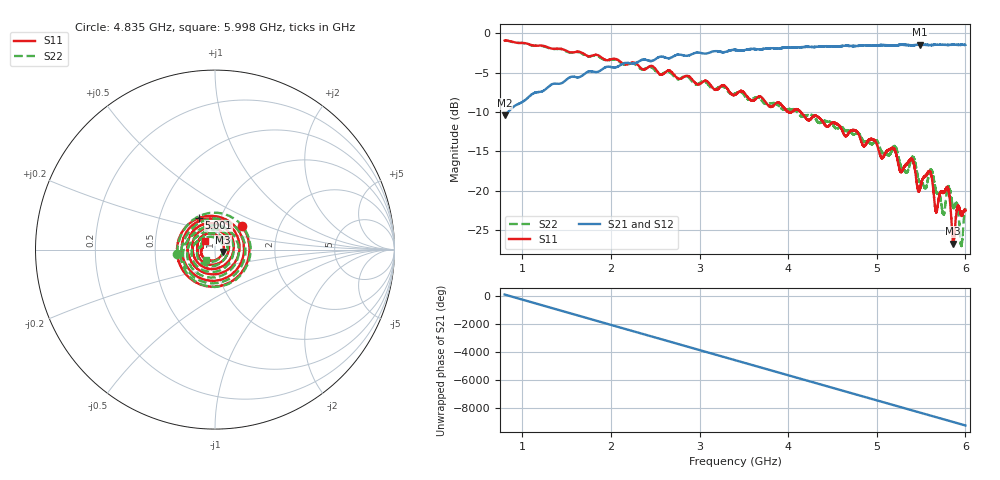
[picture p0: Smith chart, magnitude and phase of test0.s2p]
!Keysight Technologies N9923A: A.08.15
!Date: Friday, 16 February 2024 22:50:42
!Timezone: (GMT-05:00) Eastern Time (US & Canada)
!Model: N9923A
!Serial: MY52412730
!GPS Latitude:
!GPS Longitude:
!GPS TimeStamp: 0001-01-01 00:00:00Z
!GPS Seconds Since Last Read: 0
!CHECKSUM:0735242323
!Correction: S11(ON Q)S21(ON Q)S12(ON Q)S22(ON Q)
!S2P File: Measurements:S11,S21,S12,S22:
# Hz S DB R 50
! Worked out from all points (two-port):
!   10001 points, 800 MHz to 6 GHz, reference 50 ohm
!   highest |S21| = -1.42 dB at 5.49 GHz (marker M1); lowest = -10.4 dB at 800 MHz (marker M2)
!   |S21| within 3 dB of the highest: 1.917394 GHz to 1.918774 GHz (1.38 MHz wide, 0.072 % of centre); 1.919 GHz to end of sweep
!   lowest |S11| = -26.7 dB at 5.863 GHz (marker M3), VSWR 1.10, Z = 54.6 - j1.43 ohm
!   |S11| at or under -10 dB: 4.002 GHz to 4.039 GHz (37.26 MHz wide, 0.927 % of centre); 4.04003 GHz to 4.040165 GHz (135.1 kHz wide, 0.00334 % of centre); 4.142 GHz to end of sweep
!   |S22| runs from -27.0 to -0.9 dB; largest |S21 - S12| = 0.0084
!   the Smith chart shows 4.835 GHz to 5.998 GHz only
!   S11 on the Smith chart (normalised r, x): 4.835 GHz: 1.30, +0.35; 5.001 GHz: 0.79, +0.29; 5.998 GHz: 0.89, +0.09
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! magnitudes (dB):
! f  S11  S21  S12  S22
! 800 MHz  -0.9  -10.4  -10.4  -0.9
! 1.667 GHz  -2.4  -5.4  -5.4  -2.5
! 2.534 GHz  -5.0  -3.1  -3.1  -5.1
! 3.4 GHz  -7.8  -2.1  -2.1  -7.7
! 4.267 GHz  -10.8  -1.7  -1.8  -10.4
! 4.835 GHz  -14.1  -1.5  -1.5  -13.4
! 5.001 GHz  -14.1  -1.5  -1.5  -13.7
! 5.134 GHz  -14.8  -1.5  -1.5  -15.5
! 5.208 GHz  -14.9  -1.5  -1.5  -14.4
! 5.269 GHz  -17.6  -1.5  -1.5  -16.8
! 5.326 GHz  -16.7  -1.5  -1.5  -17.6
! 5.412 GHz  -16.3  -1.5  -1.5  -15.7
! 5.49 GHz  -19.7  -1.4  -1.4  -18.9
! 5.617 GHz  -18.1  -1.5  -1.5  -17.3
! 5.67 GHz  -22.6  -1.4  -1.4  -20.0
! 5.749 GHz  -20.3  -1.4  -1.4  -22.9
! 5.796 GHz  -19.6  -1.5  -1.5  -19.8
! 5.863 GHz  -26.7  -1.4  -1.4  -22.1
! 5.914 GHz  -22.1  -1.5  -1.5  -22.2
! 5.953 GHz  -23.0  -1.4  -1.5  -26.8
! 5.998 GHz  -22.5  -1.5  -1.4  -22.3
! 6 GHz  -22.5  -1.5  -1.4  -22.2
